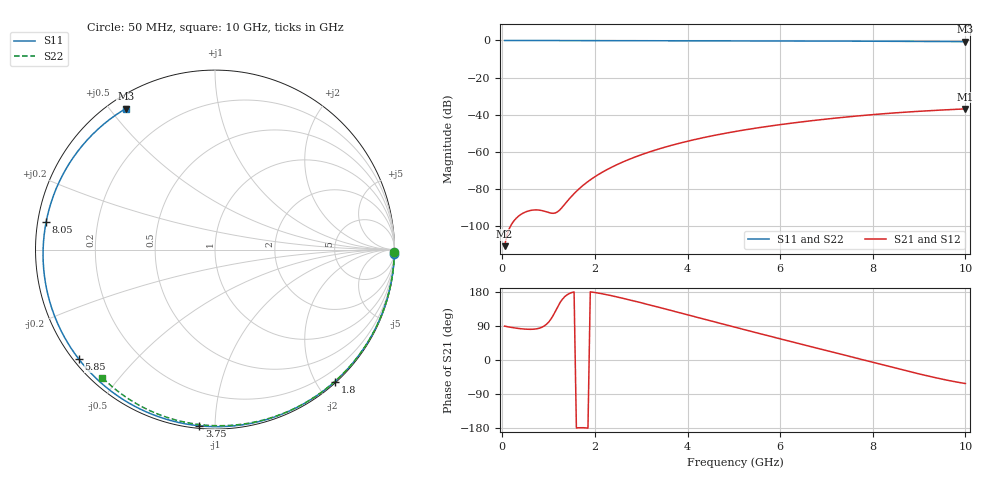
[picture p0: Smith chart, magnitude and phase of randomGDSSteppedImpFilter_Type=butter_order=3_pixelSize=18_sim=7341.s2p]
! freq	dB(S11)	phase(S11)	dB(S12)	phase(S12)
!  dB(S21)	phase(S21)	dB(S22)	phase(S22)
!S-par simulation data
#  GHz  S  DB  R 50
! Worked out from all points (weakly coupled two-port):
!   200 points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, 50 MHz to 10 GHz, reference 50 ohm
!   highest |S21| = -36.83 dB at 10 GHz (marker M1); lowest = -110.7 dB at 50 MHz (marker M2)
!   lowest |S11| = -0.6 dB at 10 GHz (marker M3), VSWR 27.41, Z = 2.38 + j27.5 ohm
!   |S11| at or under -10 dB: nowhere
!   |S22| runs from -0.4 to 0.0 dB; largest |S21 - S12| = 0
!   S11 on the Smith chart (normalised r, x): 50 MHz: 0, -84; 1.8 GHz: 0.02, -2.26; 3.75 GHz: 0.01, -0.92; 5.85 GHz: 0.02, -0.35; 8.05 GHz: 0.02, +0.08; 10 GHz: 0.05, +0.55
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0.05  -0.00 -1.4  -110.75 89.4  -110.75 89.4  -0.00 -0.8
0.4  -0.02 -10.8  -93.68 82.5  -93.68 82.5  -0.01 -6.1
0.8  -0.03 -21.6  -91.35 83.9  -91.35 83.9  -0.02 -12.1
1.2  -0.04 -32.2  -92.13 141.3  -92.13 141.3  -0.02 -18.0
1.65  -0.06 -43.9  -80.06 -178.8  -80.06 -178.8  -0.03 -24.7
1.75  -0.06 -46.5  -77.90 -178.7  -77.90 -178.7  -0.03 -26.2
1.8  -0.06 -47.8  -76.90 -179.1  -76.90 -179.1  -0.03 -26.9
2.1  -0.07 -55.4  -71.81 176.0  -71.81 176.0  -0.04 -31.3
2.5  -0.08 -65.4  -66.58 165.8  -66.58 165.8  -0.05 -37.1
2.9  -0.10 -75.1  -62.45 154.1  -62.45 154.1  -0.06 -42.8
3.4  -0.11 -87.0  -58.27 138.5  -58.27 138.5  -0.07 -49.9
3.75  -0.13 -95.1  -55.82 127.3  -55.82 127.3  -0.07 -54.7
4.4  -0.15 -109.7  -52.01 106.5  -52.01 106.5  -0.09 -63.6
5.05  -0.18 -124.0  -48.92 85.7  -48.92 85.7  -0.11 -72.2
5.85  -0.23 -141.2  -45.83 60.5  -45.83 60.5  -0.14 -82.5
6.7  -0.30 -159.5  -43.15 34.2  -43.15 34.2  -0.18 -93.0
7.4  -0.35 -174.7  -41.29 12.5  -41.29 12.5  -0.22 -101.4
8.05  -0.42 170.7  -39.82 -7.8  -39.82 -7.8  -0.26 -109.1
8.35  -0.45 163.8  -39.23 -17.1  -39.23 -17.1  -0.29 -112.6
9.15  -0.53 144.4  -37.91 -41.0  -37.91 -41.0  -0.36 -121.7
9.55  -0.58 134.2  -37.38 -51.9  -37.38 -51.9  -0.40 -126.3
10  -0.63 122.3  -36.83 -62.1  -36.83 -62.1  -0.45 -131.4
